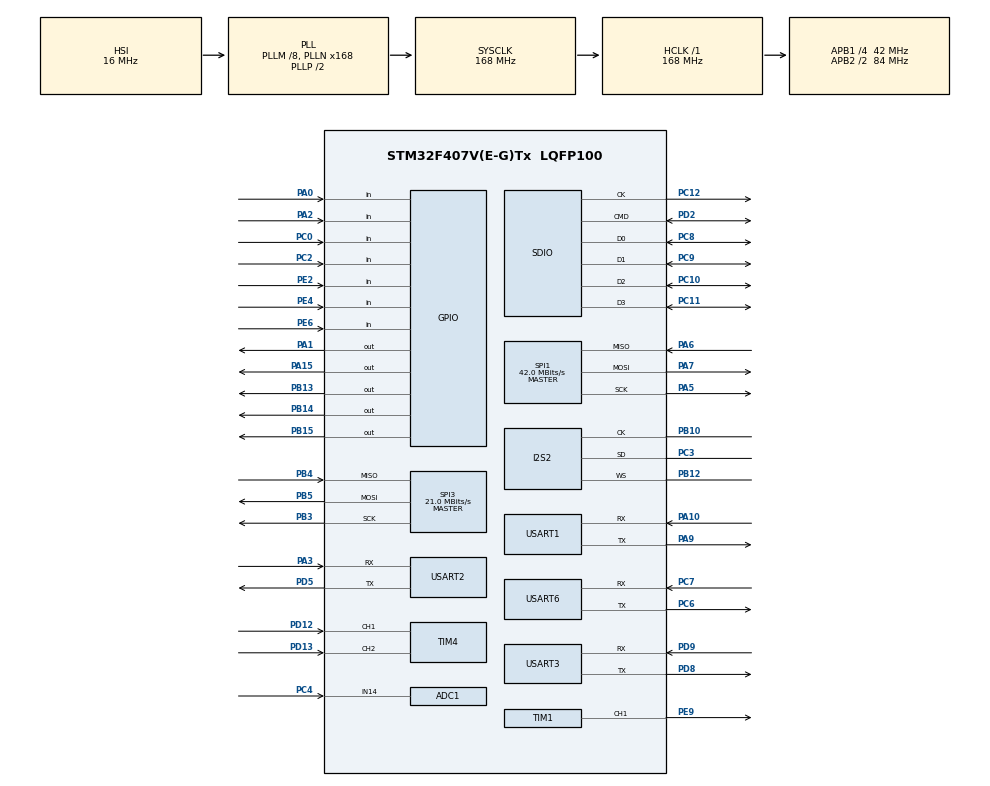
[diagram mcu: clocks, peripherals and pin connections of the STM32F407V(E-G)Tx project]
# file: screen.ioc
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ADC1.Channel-2\#ChannelRegularConversion=ADC_CHANNEL_14
ADC1.ContinuousConvMode=ENABLE
ADC1.NbrOfConversionFlag=1
ADC1.Rank-2\#ChannelRegularConversion=1
ADC1.SamplingTime-2\#ChannelRegularConversion=ADC_SAMPLETIME_3CYCLES
ADC1.ScanConvMode=ENABLE
ADC1.master=1
Dma.ADC1.1.Direction=DMA_PERIPH_TO_MEMORY
Dma.ADC1.1.FIFOMode=DMA_FIFOMODE_DISABLE
Dma.ADC1.1.Instance=DMA2_Stream0
Dma.ADC1.1.MemDataAlignment=DMA_MDATAALIGN_HALFWORD
Dma.ADC1.1.MemInc=DMA_MINC_ENABLE
Dma.ADC1.1.Mode=DMA_CIRCULAR
Dma.ADC1.1.PeriphDataAlignment=DMA_PDATAALIGN_HALFWORD
Dma.ADC1.1.PeriphInc=DMA_PINC_DISABLE
Dma.ADC1.1.Priority=DMA_PRIORITY_LOW
Dma.Request0=SPI1_TX
Dma.Request1=ADC1
Dma.Request2=SDIO_RX
Dma.Request3=SDIO_TX
Dma.Request4=SPI2_TX
Dma.SDIO_RX.2.Direction=DMA_PERIPH_TO_MEMORY
Dma.SDIO_RX.2.FIFOMode=DMA_FIFOMODE_ENABLE
Dma.SDIO_RX.2.FIFOThreshold=DMA_FIFO_THRESHOLD_FULL
Dma.SDIO_RX.2.Instance=DMA2_Stream6
Dma.SDIO_RX.2.MemBurst=DMA_MBURST_INC4
Dma.SDIO_RX.2.MemDataAlignment=DMA_MDATAALIGN_WORD
Dma.SDIO_RX.2.MemInc=DMA_MINC_ENABLE
Dma.SDIO_RX.2.Mode=DMA_PFCTRL
Dma.SDIO_RX.2.PeriphBurst=DMA_PBURST_INC4
Dma.SDIO_RX.2.PeriphDataAlignment=DMA_PDATAALIGN_WORD
Dma.SDIO_RX.2.PeriphInc=DMA_PINC_DISABLE
Dma.SDIO_RX.2.Priority=DMA_PRIORITY_LOW
Dma.SDIO_TX.3.Direction=DMA_MEMORY_TO_PERIPH
Dma.SDIO_TX.3.FIFOMode=DMA_FIFOMODE_ENABLE
Dma.SDIO_TX.3.FIFOThreshold=DMA_FIFO_THRESHOLD_FULL
Dma.SDIO_TX.3.Instance=DMA2_Stream3
Dma.SDIO_TX.3.MemBurst=DMA_MBURST_INC4
Dma.SDIO_TX.3.MemDataAlignment=DMA_MDATAALIGN_WORD
Dma.SDIO_TX.3.MemInc=DMA_MINC_ENABLE
Dma.SDIO_TX.3.Mode=DMA_PFCTRL
Dma.SDIO_TX.3.PeriphBurst=DMA_PBURST_INC4
Dma.SDIO_TX.3.PeriphDataAlignment=DMA_PDATAALIGN_WORD
Dma.SDIO_TX.3.PeriphInc=DMA_PINC_DISABLE
Dma.SDIO_TX.3.Priority=DMA_PRIORITY_LOW
Dma.SPI1_TX.0.Direction=DMA_MEMORY_TO_PERIPH
Dma.SPI1_TX.0.FIFOMode=DMA_FIFOMODE_DISABLE
Dma.SPI1_TX.0.Instance=DMA2_Stream5
Dma.SPI1_TX.0.MemDataAlignment=DMA_MDATAALIGN_BYTE
Dma.SPI1_TX.0.MemInc=DMA_MINC_ENABLE
Dma.SPI1_TX.0.Mode=DMA_NORMAL
Dma.SPI1_TX.0.PeriphDataAlignment=DMA_PDATAALIGN_BYTE
Dma.SPI1_TX.0.PeriphInc=DMA_PINC_DISABLE
Dma.SPI1_TX.0.Priority=DMA_PRIORITY_LOW
Dma.SPI2_TX.4.Direction=DMA_MEMORY_TO_PERIPH
Dma.SPI2_TX.4.FIFOMode=DMA_FIFOMODE_DISABLE
Dma.SPI2_TX.4.Instance=DMA1_Stream4
Dma.SPI2_TX.4.MemDataAlignment=DMA_MDATAALIGN_HALFWORD
Dma.SPI2_TX.4.MemInc=DMA_MINC_ENABLE
Dma.SPI2_TX.4.Mode=DMA_CIRCULAR
Dma.SPI2_TX.4.PeriphDataAlignment=DMA_PDATAALIGN_HALFWORD
Dma.SPI2_TX.4.PeriphInc=DMA_PINC_DISABLE
Dma.SPI2_TX.4.Priority=DMA_PRIORITY_LOW
FATFS._CODE_PAGE=437
FATFS._USE_LFN=2
FATFS._VOLUMES=2
FREERTOS.INCLUDE_uxTaskGetStackHighWaterMark2=1
FREERTOS.INCLUDE_vTaskDelayUntil=1
FREERTOS.INCLUDE_xTaskGetHandle=1
FREERTOS.Tasks01=defaultTask,0,256,StartDefaultTask,Default,NULL,Dynamic,NULL,NULL
FREERTOS.configMINIMAL_STACK_SIZE=256
FREERTOS.configTOTAL_HEAP_SIZE=1024*30
I2S2.AudioFreq=I2S_AUDIOFREQ_44K
I2S2.ErrorAudioFreq=0.26 %
I2S2.FullDuplexMode=I2S_FULLDUPLEXMODE_DISABLE
I2S2.Instance=SPI$Index
I2S2.RealAudioFreq=44.117 KHz
I2S2.VirtualMode=I2S_MODE_MASTER
Mcu.Family=STM32F4
Mcu.Name=STM32F407V(E-G)Tx
Mcu.Package=LQFP100
NVIC.DMA1_Stream4_IRQn=true\:5\:0\:false\:false\:true\:true\:false\:true\:true
NVIC.DMA2_Stream0_IRQn=true\:5\:0\:false\:false\:true\:true\:false\:true\:true
NVIC.DMA2_Stream3_IRQn=true\:5\:0\:false\:false\:true\:true\:false\:true\:true
NVIC.DMA2_Stream5_IRQn=true\:5\:0\:false\:false\:true\:false\:false\:true\:true
NVIC.DMA2_Stream6_IRQn=true\:5\:0\:false\:false\:true\:true\:false\:true\:true
NVIC.HASH_RNG_IRQn=true\:5\:0\:false\:false\:true\:true\:true\:true\:true
NVIC.PriorityGroup=NVIC_PRIORITYGROUP_4
NVIC.SDIO_IRQn=true\:5\:0\:false\:false\:true\:true\:true\:true\:true
NVIC.SPI2_IRQn=true\:5\:0\:false\:false\:true\:true\:true\:true\:true
NVIC.SPI3_IRQn=true\:5\:0\:false\:false\:true\:true\:true\:true\:true
NVIC.TIM2_IRQn=true\:15\:0\:false\:false\:true\:false\:false\:true\:true
NVIC.TimeBase=TIM2_IRQn
NVIC.TimeBaseIP=TIM2
NVIC.USART1_IRQn=true\:5\:0\:false\:false\:true\:true\:true\:true\:true
NVIC.USART2_IRQn=true\:5\:0\:false\:false\:true\:true\:true\:true\:true
NVIC.USART3_IRQn=true\:5\:0\:false\:false\:true\:true\:true\:true\:true
NVIC.USART6_IRQn=true\:5\:0\:false\:false\:true\:true\:true\:true\:true
PA0-WKUP.GPIO_PuPd=GPIO_PULLDOWN
PA0-WKUP.Signal=GPIO_Input
PA1.GPIO_PuPd=GPIO_PULLDOWN
PA1.Signal=GPIO_Output
PA10.Mode=Asynchronous
PA10.Signal=USART1_RX
PA13.Mode=Serial_Wire
PA13.Signal=SYS_JTMS-SWDIO
PA14.Mode=Serial_Wire
PA14.Signal=SYS_JTCK-SWCLK
PA15.Signal=GPIO_Output
PA2.GPIO_PuPd=GPIO_PULLDOWN
PA2.Signal=GPIO_Input
PA3.Mode=Asynchronous
PA3.Signal=USART2_RX
PA5.Mode=Full_Duplex_Master
PA5.Signal=SPI1_SCK
PA6.Mode=Full_Duplex_Master
PA6.Signal=SPI1_MISO
PA7.Mode=Full_Duplex_Master
PA7.Signal=SPI1_MOSI
PA9.Mode=Asynchronous
PA9.Signal=USART1_TX
PB10.Mode=Half_Duplex_Master
PB10.Signal=I2S2_CK
PB12.Mode=Half_Duplex_Master
PB12.Signal=I2S2_WS
PB13.Signal=GPIO_Output
PB14.Signal=GPIO_Output
PB15.GPIO_PuPd=GPIO_PULLUP
PB15.Signal=GPIO_Output
PB3.Mode=Full_Duplex_Master
PB3.Signal=SPI3_SCK
PB4.Mode=Full_Duplex_Master
PB4.Signal=SPI3_MISO
PB5.Mode=Full_Duplex_Master
PB5.Signal=SPI3_MOSI
PC0.GPIO_PuPd=GPIO_PULLDOWN
PC0.Signal=GPIO_Input
PC10.Mode=SD_4_bits_Wide_bus
PC10.Signal=SDIO_D2
PC11.Mode=SD_4_bits_Wide_bus
PC11.Signal=SDIO_D3
PC12.Mode=SD_4_bits_Wide_bus
PC12.Signal=SDIO_CK
PC14-OSC32_IN.Mode=LSE-External-Oscillator
PC14-OSC32_IN.Signal=RCC_OSC32_IN
PC15-OSC32_OUT.Mode=LSE-External-Oscillator
PC15-OSC32_OUT.Signal=RCC_OSC32_OUT
PC2.GPIO_PuPd=GPIO_PULLDOWN
PC2.Signal=GPIO_Input
PC3.Mode=Half_Duplex_Master
PC3.Signal=I2S2_SD
PC4.Signal=ADCx_IN14
PC6.Mode=Asynchronous
PC6.Signal=USART6_TX
PC7.Mode=Asynchronous
PC7.Signal=USART6_RX
PC8.Mode=SD_4_bits_Wide_bus
PC8.Signal=SDIO_D0
PC9.Mode=SD_4_bits_Wide_bus
PC9.Signal=SDIO_D1
PD12.GPIO_PuPd=GPIO_PULLUP
PD12.Signal=S_TIM4_CH1
PD13.GPIO_PuPd=GPIO_PULLUP
PD13.Signal=S_TIM4_CH2
PD2.Mode=SD_4_bits_Wide_bus
PD2.Signal=SDIO_CMD
PD5.Mode=Asynchronous
PD5.Signal=USART2_TX
PD8.Mode=Asynchronous
PD8.Signal=USART3_TX
PD9.Mode=Asynchronous
PD9.Signal=USART3_RX
PE2.Signal=GPIO_Input
PE4.GPIO_PuPd=GPIO_PULLDOWN
PE4.Signal=GPIO_Input
PE6.GPIO_PuPd=GPIO_PULLDOWN
PE6.Signal=GPIO_Input
PE9.Signal=S_TIM1_CH1
PH0-OSC_IN.Mode=HSE-External-Oscillator
PH0-OSC_IN.Signal=RCC_OSC_IN
PH1-OSC_OUT.Mode=HSE-External-Oscillator
PH1-OSC_OUT.Signal=RCC_OSC_OUT
ProjectManager.HeapSize=0x2000
ProjectManager.StackSize=0x2000
ProjectManager.TargetToolchain=MDK-ARM V5.32
RCC.48MHZClocksFreq_Value=42000000
RCC.AHBFreq_Value=168000000
RCC.APB1CLKDivider=RCC_HCLK_DIV4
RCC.APB1Freq_Value=42000000
RCC.APB1TimFreq_Value=84000000
RCC.APB2CLKDivider=RCC_HCLK_DIV2
RCC.APB2Freq_Value=84000000
RCC.APB2TimFreq_Value=168000000
RCC.CortexFreq_Value=168000000
RCC.HCLKFreq_Value=168000000
RCC.HSE_VALUE=25000000
RCC.HSI_VALUE=16000000
RCC.PLLM=8
RCC.PLLN=168
RCC.PLLQ=8
RCC.SYSCLKFreq_VALUE=168000000
RCC.SYSCLKSource=RCC_SYSCLKSOURCE_PLLCLK
RCC.VCOOutputFreq_Value=336000000
SH.ADCx_IN14.0=ADC1_IN14,IN14
SH.S_TIM1_CH1.0=TIM1_CH1,PWM Generation1 CH1
SH.S_TIM4_CH1.0=TIM4_CH1,Encoder_Interface
SH.S_TIM4_CH2.0=TIM4_CH2,Encoder_Interface
SPI1.BaudRatePrescaler=SPI_BAUDRATEPRESCALER_2
SPI1.CalculateBaudRate=42.0 MBits/s
SPI1.Direction=SPI_DIRECTION_2LINES
SPI1.Mode=SPI_MODE_MASTER
SPI1.VirtualType=VM_MASTER
SPI3.CalculateBaudRate=21.0 MBits/s
SPI3.Direction=SPI_DIRECTION_2LINES
SPI3.Mode=SPI_MODE_MASTER
SPI3.VirtualType=VM_MASTER
TIM1.AutoReloadPreload=TIM_AUTORELOAD_PRELOAD_ENABLE
TIM1.Channel-PWM\ Generation1\ CH1=TIM_CHANNEL_1
TIM1.Period=100-1
TIM1.Prescaler=84-1
TIM1.Pulse-PWM\ Generation1\ CH1=50
TIM4.EncoderMode=TIM_ENCODERMODE_TI12
TIM4.IC1Filter=5
TIM4.IC2Filter=5
TIM6.Prescaler=168-1
USART1.VirtualMode=VM_ASYNC
USART2.VirtualMode=VM_ASYNC
USART3.VirtualMode=VM_ASYNC
USART6.VirtualMode=VM_ASYNC
VP_FATFS_VS_SDIO.Mode=SDIO
VP_FREERTOS_VS_CMSIS_V1.Mode=CMSIS_V1
VP_RNG_VS_RNG.Mode=RNG_Activate
VP_SYS_VS_tim2.Mode=TIM2
VP_TIM1_VS_ClockSourceINT.Mode=Internal
VP_TIM6_VS_ClockSourceINT.Mode=Enable_Timer
board=custom

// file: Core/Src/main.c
/* USER CODE BEGIN Header */
/**
  ******************************************************************************
  * @file           : main.c
  * @brief          : Main program body
  ******************************************************************************
  * @attention
  *
  * Copyright (c) 2025 STMicroelectronics.
  * All rights reserved.
  *
  * This software is licensed under terms that can be found in the LICENSE file
  * in the root directory of this software component.
  * If no LICENSE file comes with this software, it is provided AS-IS.
  *
  ******************************************************************************
  */
/* USER CODE END Header */
#include "main.h"
#include "cmsis_os.h"
#include "adc.h"
#include "dma.h"
#include "fatfs.h"
#include "i2s.h"
#include "rng.h"
#include "sdio.h"
#include "spi.h"
#include "tim.h"
#include "usart.h"
#include "gpio.h"

/* USER CODE BEGIN Includes */

#include <stdio.h>
#include <stdlib.h>
#include "ili9341.h"
#include "key.h"
#include "lvgl_demo.h"
/* USER CODE END Includes */

void SystemClock_Config(void);
void MX_FREERTOS_Init(void);

/* USER CODE BEGIN 0 */
extern uint8_t rx1_ch;
extern uint8_t rx2_ch;
extern uint8_t rx3_ch;
extern uint8_t rx6_ch;
/* USER CODE END 0 */

int main(void)
{

  /* MCU Configuration--------------------------------------------------------*/

  /* Reset of all peripherals, Initializes the Flash interface and the Systick. */
  HAL_Init();

  /* Configure the system clock */
  SystemClock_Config();

  /* Initialize all configured peripherals */
  MX_GPIO_Init();
  MX_DMA_Init();
  MX_SPI1_Init();
  MX_TIM1_Init();
  MX_RNG_Init();
  MX_USART1_UART_Init();
  MX_TIM6_Init();
  MX_ADC1_Init();
  MX_USART2_UART_Init();
  MX_USART3_UART_Init();
  MX_SDIO_SD_Init();
  MX_FATFS_Init();
  MX_TIM4_Init();
  MX_USART6_UART_Init();
  MX_I2S2_Init();
  MX_SPI3_Init();
  /* USER CODE BEGIN 2 */
  	HAL_UART_Receive_IT(&huart1, &rx1_ch, 1);
	HAL_UART_Receive_IT(&huart2, &rx2_ch, 1);
	HAL_UART_Receive_IT(&huart3, &rx3_ch, 1);
	HAL_UART_Receive_IT(&huart6, &rx6_ch, 1);
	HAL_TIM_Encoder_Start(&htim4,TIM_CHANNEL_1 | TIM_CHANNEL_2);

   lvgl_demo_init();
  /* USER CODE END 2 */

  /* Call init function for freertos objects (in cmsis_os2.c) */
  MX_FREERTOS_Init();

  /* Start scheduler */
  osKernelStart();

  /* We should never get here as control is now taken by the scheduler */

  /* Infinite loop */
  while (1)
  {

  }
}

void SystemClock_Config(void)
{
  RCC_OscInitTypeDef RCC_OscInitStruct = {0};
  RCC_ClkInitTypeDef RCC_ClkInitStruct = {0};

  /** Configure the main internal regulator output voltage
  */
  __HAL_RCC_PWR_CLK_ENABLE();
  __HAL_PWR_VOLTAGESCALING_CONFIG(PWR_REGULATOR_VOLTAGE_SCALE1);

  /** Initializes the RCC Oscillators according to the specified parameters
  * in the RCC_OscInitTypeDef structure.
  */
  RCC_OscInitStruct.OscillatorType = RCC_OSCILLATORTYPE_HSI;
  RCC_OscInitStruct.HSIState = RCC_HSI_ON;
  RCC_OscInitStruct.HSICalibrationValue = RCC_HSICALIBRATION_DEFAULT;
  RCC_OscInitStruct.PLL.PLLState = RCC_PLL_ON;
  RCC_OscInitStruct.PLL.PLLSource = RCC_PLLSOURCE_HSI;
  RCC_OscInitStruct.PLL.PLLM = 8;
  RCC_OscInitStruct.PLL.PLLN = 168;
  RCC_OscInitStruct.PLL.PLLP = RCC_PLLP_DIV2;
  RCC_OscInitStruct.PLL.PLLQ = 8;
  if (HAL_RCC_OscConfig(&RCC_OscInitStruct) != HAL_OK)
  {
    Error_Handler();
  }

  /** Initializes the CPU, AHB and APB buses clocks
  */
  RCC_ClkInitStruct.ClockType = RCC_CLOCKTYPE_HCLK|RCC_CLOCKTYPE_SYSCLK
                              |RCC_CLOCKTYPE_PCLK1|RCC_CLOCKTYPE_PCLK2;
  RCC_ClkInitStruct.SYSCLKSource = RCC_SYSCLKSOURCE_PLLCLK;
  RCC_ClkInitStruct.AHBCLKDivider = RCC_SYSCLK_DIV1;
  RCC_ClkInitStruct.APB1CLKDivider = RCC_HCLK_DIV4;
  RCC_ClkInitStruct.APB2CLKDivider = RCC_HCLK_DIV2;

  if (HAL_RCC_ClockConfig(&RCC_ClkInitStruct, FLASH_LATENCY_5) != HAL_OK)
  {
    Error_Handler();
  }
}

void HAL_TIM_PeriodElapsedCallback(TIM_HandleTypeDef *htim)
{
  if (htim->Instance == TIM2) {
    HAL_IncTick();
  }
}

void Error_Handler(void)
{
  __disable_irq();
  while (1)
  {
  }
}

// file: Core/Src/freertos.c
/* USER CODE BEGIN Header */
/**
  ******************************************************************************
  * File Name          : freertos.c
  * Description        : Code for freertos applications
  ******************************************************************************
  * @attention
  *
  * Copyright (c) 2025 STMicroelectronics.
  * All rights reserved.
  *
  * This software is licensed under terms that can be found in the LICENSE file
  * in the root directory of this software component.
  * If no LICENSE file comes with this software, it is provided AS-IS.
  *
  ******************************************************************************
  */
/* USER CODE END Header */

#include "FreeRTOS.h"
#include "task.h"
#include "main.h"
#include "cmsis_os.h"

osThreadId defaultTaskHandle;

void StartDefaultTask(void const * argument);

void MX_FREERTOS_Init(void); /* (MISRA C 2004 rule 8.1) */

/* GetIdleTaskMemory prototype (linked to static allocation support) */
void vApplicationGetIdleTaskMemory( StaticTask_t **ppxIdleTaskTCBBuffer, StackType_t **ppxIdleTaskStackBuffer, uint32_t *pulIdleTaskStackSize );

/* USER CODE BEGIN GET_IDLE_TASK_MEMORY */
static StaticTask_t xIdleTaskTCBBuffer;
static StackType_t xIdleStack[configMINIMAL_STACK_SIZE];

void vApplicationGetIdleTaskMemory( StaticTask_t **ppxIdleTaskTCBBuffer, StackType_t **ppxIdleTaskStackBuffer, uint32_t *pulIdleTaskStackSize )
{
  *ppxIdleTaskTCBBuffer = &xIdleTaskTCBBuffer;
  *ppxIdleTaskStackBuffer = &xIdleStack[0];
  *pulIdleTaskStackSize = configMINIMAL_STACK_SIZE;
  /* place for user code */
}
/* USER CODE END GET_IDLE_TASK_MEMORY */

void MX_FREERTOS_Init(void) {

  /* Create the thread(s) */
  /* definition and creation of defaultTask */
  osThreadDef(defaultTask, StartDefaultTask, osPriorityNormal, 0, 256);
  defaultTaskHandle = osThreadCreate(osThread(defaultTask), NULL);

}

/* USER CODE BEGIN Header_StartDefaultTask */
/**
  * @brief  Function implementing the defaultTask thread.
  * @param  argument: Not used
  * @retval None
  */
QueueHandle_t Tank_Queue;
/* USER CODE END Header_StartDefaultTask */
void StartDefaultTask(void const * argument)
{
  /* USER CODE BEGIN StartDefaultTask */

  /* Infinite loop */
  for(;;)
  {
	HAL_GPIO_WritePin(GPIOA,GPIO_PIN_1,GPIO_PIN_SET);
	vTaskDelay(250);
	HAL_GPIO_WritePin(GPIOA,GPIO_PIN_1,GPIO_PIN_RESET);
	vTaskDelay(250);
  }
  /* USER CODE END StartDefaultTask */
}
